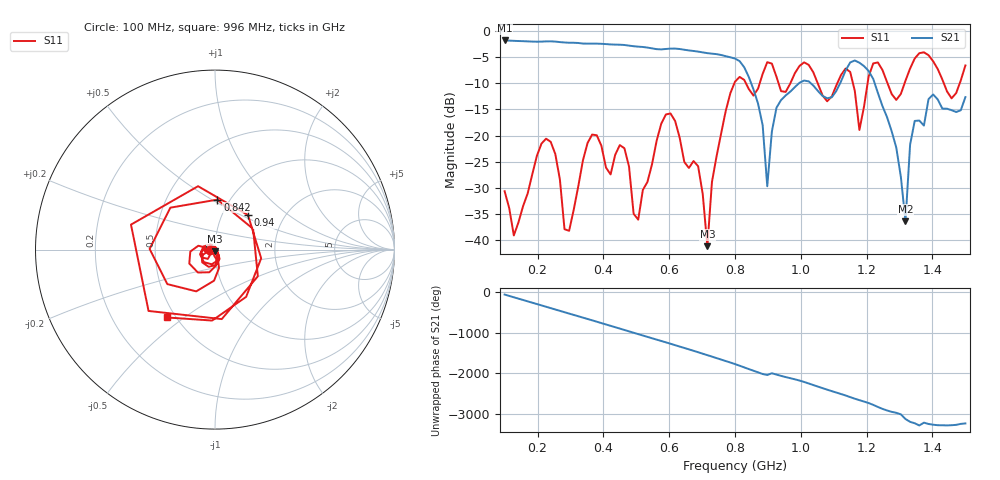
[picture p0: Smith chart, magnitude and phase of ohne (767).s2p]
! NanoVNA-App
! Date: 2025-09-25 14:26:46
! Start: 100MHz Stop: 1,5GHz Points: 101
! S-Parameter data: F S11 S21 S12 S22
# Hz S RI R 50
!  Frequency  S11_Real  S11_Imag  S21_Real  S21_Imag  S12_Real  S12_Imag  S22_Real  S22_Imag
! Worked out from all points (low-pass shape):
!   101 points, 100 MHz to 1.5 GHz, reference 50 ohm
!   highest |S21| = -1.79 dB at 100 MHz (marker M1); lowest = -36.4 dB at 1.318 GHz (marker M2)
!   |S21| within 3 dB of the highest: start of sweep to 771.2 MHz
!   lowest |S11| = -41.2 dB at 716 MHz (marker M3), VSWR 1.02, Z = 49.8 - j0.846 ohm
!   |S11| at or under -10 dB: start of sweep to 798 MHz; 833.3 MHz to 875.1 MHz (41.79 MHz wide, 4.89 % of centre); 1.051 GHz to 1.111 GHz (59.35 MHz wide, 5.49 % of centre) (the widest 3 of 7)
!   S12 and S22 are empty: the file has one direction only
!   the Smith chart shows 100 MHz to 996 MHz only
!   S11 on the Smith chart (normalised r, x): 100 MHz: 0.94, -0.01; 842 MHz: 0.88, +0.53; 940 MHz: 1.32, +0.55; 996 MHz: 0.45, -0.43
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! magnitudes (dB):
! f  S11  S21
! 100 MHz  -30.6  -1.8
! 128 MHz  -39.1  -1.9
! 226 MHz  -20.6  -2.0
! 296 MHz  -38.2  -2.2
! 338 MHz  -24.7  -2.4
! 464 MHz  -22.4  -2.7
! 506 MHz  -36.1  -3.0
! 576 MHz  -17.7  -3.5
! 688 MHz  -25.9  -3.9
! 716 MHz  -41.2  -4.2
! 800 MHz  -9.7  -5.3
! 842 MHz  -11.1  -8.8
! 898 MHz  -6.0  -29.7
! 940 MHz  -11.5  -13.2
! 996 MHz  -6.7  -9.9
! 1.038 GHz  -7.9  -10.4
! 1.178 GHz  -18.9  -6.1
! 1.22 GHz  -6.2  -9.2
! 1.276 GHz  -12.0  -19.2
! 1.318 GHz  -9.5  -36.4
! 1.346 GHz  -5.3  -17.2
! 1.5 GHz  -6.6  -12.6
